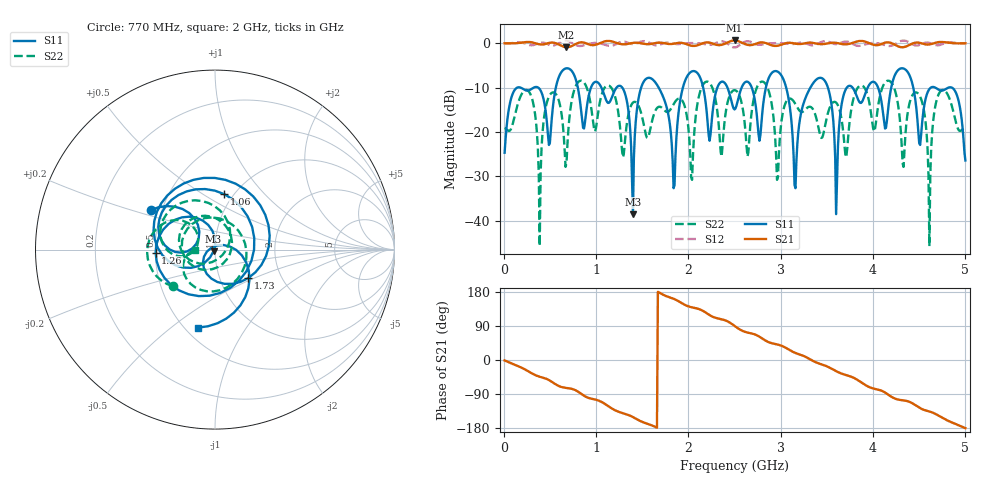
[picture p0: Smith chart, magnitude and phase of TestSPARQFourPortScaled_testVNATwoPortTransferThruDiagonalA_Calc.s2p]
# MHz MA S R 50.0
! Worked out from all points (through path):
!   500 points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, 10 MHz to 5 GHz, reference 50 ohm
!   highest |S21| = 0.63 dB at 2.5 GHz (marker M1); lowest = -0.9 dB at 680 MHz (marker M2)
!   group delay of S21, straight-line fit = 300 ps
!   lowest |S11| = -38.6 dB at 1.4 GHz (marker M3), VSWR 1.02, Z = 49.2 - j0.852 ohm
!   |S11| at or under -10 dB: 1.284 GHz to 1.489 GHz (205 MHz wide, 14.8 % of centre); 1.678 GHz to 1.941 GHz (262.4 MHz wide, 14.5 % of centre); 3.059 GHz to 3.322 GHz (262.4 MHz wide, 8.23 % of centre) (the widest 3 of 17)
!   |S22| runs from -45.8 to -8.4 dB; largest |S21 - S12| = 0.18
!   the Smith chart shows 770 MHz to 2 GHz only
!   S11 on the Smith chart (normalised r, x): 770 MHz: 0.43, +0.23; 1.06 GHz: 0.91, +0.62; 1.26 GHz: 0.50, -0.02; 1.73 GHz: 1.37, -0.46; 2 GHz: 0.58, -0.63
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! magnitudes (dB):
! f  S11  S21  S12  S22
! 10 MHz  -24.7  0.0  0.0  -19.1
! 680 MHz  -5.7  -0.9  0.6  -27.1
! 770 MHz  -7.5  -0.3  -0.3  -10.2
! 850 MHz  -17.5  0.2  -0.6  -8.5
! 1.06 GHz  -10.1  0.2  -0.1  -11.7
! 1.26 GHz  -9.6  -0.1  0.2  -18.9
! 1.4 GHz  -38.6  0.1  -0.2  -13.4
! 1.68 GHz  -10.1  0.1  -0.4  -14.3
! 1.73 GHz  -12.3  0.0  0.0  -14.9
! 1.84 GHz  -32.7  -0.1  -0.1  -13.7
! 2 GHz  -7.0  -0.4  0.0  -19.1
! 2.5 GHz  -14.9  0.6  -0.9  -10.6
! 2.51 GHz  -14.7  0.6  -0.9  -10.6
! 2.99 GHz  -6.8  -0.4  0.0  -21.5
! 3.16 GHz  -32.7  -0.1  -0.1  -13.7
! 3.34 GHz  -9.4  0.1  -0.5  -14.6
! 3.6 GHz  -38.6  0.1  -0.2  -13.4
! 3.72 GHz  -9.9  -0.2  0.4  -23.8
! 4.17 GHz  -13.6  0.2  -0.6  -8.5
! 4.61 GHz  -10.3  -0.3  0.1  -45.8
! 4.73 GHz  -10.6  0.3  -0.4  -10.8
! 5 GHz  -26.4  0.0  0.0  -19.1
